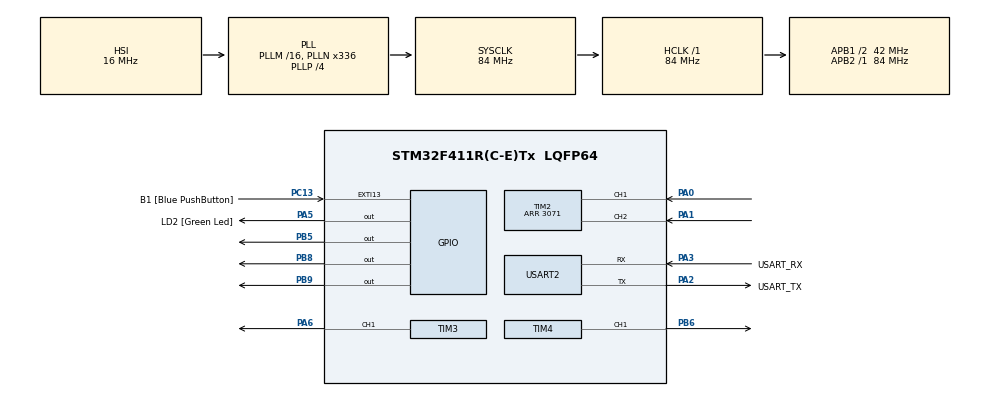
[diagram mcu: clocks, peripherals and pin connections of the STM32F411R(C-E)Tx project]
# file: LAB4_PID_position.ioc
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Mcu.Family=STM32F4
Mcu.Name=STM32F411R(C-E)Tx
Mcu.Package=LQFP64
Mcu.UserConstants=QEI_PERIOD,64512
NVIC.PriorityGroup=NVIC_PRIORITYGROUP_0
NVIC.TIM3_IRQn=true\:0\:0\:false\:false\:true\:true\:true\:true
NVIC.TIM4_IRQn=true\:0\:0\:false\:false\:true\:true\:true\:true
PA0-WKUP.Signal=S_TIM2_CH1_ETR
PA1.Signal=S_TIM2_CH2
PA13.GPIO_Label=TMS
PA13.Mode=Trace_Asynchronous_SW
PA13.Signal=SYS_JTMS-SWDIO
PA14.GPIO_Label=TCK
PA14.Mode=Trace_Asynchronous_SW
PA14.Signal=SYS_JTCK-SWCLK
PA2.GPIO_Label=USART_TX
PA2.Mode=Asynchronous
PA2.Signal=USART2_TX
PA3.GPIO_Label=USART_RX
PA3.Mode=Asynchronous
PA3.Signal=USART2_RX
PA5.GPIO_Label=LD2 [Green Led]
PA5.Signal=GPIO_Output
PA6.Signal=S_TIM3_CH1
PB3.GPIO_Label=SWO
PB3.Mode=Trace_Asynchronous_SW
PB3.Signal=SYS_JTDO-SWO
PB5.Signal=GPIO_Output
PB6.Signal=S_TIM4_CH1
PB8.Signal=GPIO_Output
PB9.Signal=GPIO_Output
PC13-ANTI_TAMP.GPIO_Label=B1 [Blue PushButton]
PC13-ANTI_TAMP.GPIO_ModeDefaultEXTI=GPIO_MODE_IT_FALLING
PC13-ANTI_TAMP.Signal=GPXTI13
PC14-OSC32_IN.Mode=LSE-External-Oscillator
PC14-OSC32_IN.Signal=RCC_OSC32_IN
PC15-OSC32_OUT.Mode=LSE-External-Oscillator
PC15-OSC32_OUT.Signal=RCC_OSC32_OUT
PH0\ -\ OSC_IN.Mode=HSE-External-Clock-Source
PH0\ -\ OSC_IN.Signal=RCC_OSC_IN
PH1\ -\ OSC_OUT.Mode=HSE-External-Clock-Source
PH1\ -\ OSC_OUT.Signal=RCC_OSC_OUT
ProjectManager.HeapSize=0x200
ProjectManager.StackSize=0x400
ProjectManager.TargetToolchain=STM32CubeIDE
RCC.48MHZClocksFreq_Value=84000000
RCC.AHBFreq_Value=84000000
RCC.APB1CLKDivider=RCC_HCLK_DIV2
RCC.APB1Freq_Value=42000000
RCC.APB1TimFreq_Value=84000000
RCC.APB2Freq_Value=84000000
RCC.APB2TimFreq_Value=84000000
RCC.CortexFreq_Value=84000000
RCC.FLatency-AdvancedSettings=FLASH_LATENCY_2
RCC.HCLKFreq_Value=84000000
RCC.HSE_VALUE=8000000
RCC.HSI_VALUE=16000000
RCC.PLLN=336
RCC.PLLP=RCC_PLLP_DIV4
RCC.SYSCLKFreq_VALUE=84000000
RCC.SYSCLKSource=RCC_SYSCLKSOURCE_PLLCLK
RCC.VCOOutputFreq_Value=336000000
SH.S_TIM2_CH1_ETR.0=TIM2_CH1,Encoder_Interface
SH.S_TIM2_CH2.0=TIM2_CH2,Encoder_Interface
SH.S_TIM3_CH1.0=TIM3_CH1,PWM Generation1 CH1
SH.S_TIM4_CH1.0=TIM4_CH1,PWM Generation1 CH1
TIM2.EncoderMode=TIM_ENCODERMODE_TI12
TIM2.Period=3071
TIM3.Channel-PWM\ Generation1\ CH1=TIM_CHANNEL_1
TIM3.Period=9999
TIM3.Prescaler=83
TIM4.Channel-PWM\ Generation1\ CH1=TIM_CHANNEL_1
TIM4.Period=9999
TIM4.Prescaler=83
USART2.VirtualMode=VM_ASYNC
VP_TIM3_VS_ClockSourceINT.Mode=Internal
board=NUCLEO-F411RE

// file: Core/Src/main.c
/* USER CODE BEGIN Header */
/**
  ******************************************************************************
  * @file           : main.c
  * @brief          : Main program body
  ******************************************************************************
  * @attention
  *
  * Copyright (c) 2023 STMicroelectronics.
  * All rights reserved.
  *
  * This software is licensed under terms that can be found in the LICENSE file
  * in the root directory of this software component.
  * If no LICENSE file comes with this software, it is provided AS-IS.
  *
  ******************************************************************************
  */
/* USER CODE END Header */
#include "main.h"

/* USER CODE BEGIN Includes */
#include "string.h"
#include "stdio.h"
// ธัชพงศ์ สังข์ถาวร 31
/* USER CODE END Includes */

TIM_HandleTypeDef htim2;
TIM_HandleTypeDef htim3;
TIM_HandleTypeDef htim4;

UART_HandleTypeDef huart2;

/* USER CODE BEGIN PV */

float e = 0;
float e_integral = 0;
uint16_t Kp = 250;
uint16_t Ki = 10;

uint32_t duty = 0;
int32_t duty_raw = 0;
uint32_t QEIReadRaw;
uint16_t setpoint = 0;
float theta;
uint16_t count;
uint8_t flag = 0;

typedef struct _QEIStructure
{
	int16_t data[2];
}QEIStructuretypedef;

QEIStructuretypedef QEIData = {0};
/* USER CODE END PV */

void SystemClock_Config(void);
static void MX_GPIO_Init(void);
static void MX_USART2_UART_Init(void);
static void MX_TIM2_Init(void);
static void MX_TIM3_Init(void);
static void MX_TIM4_Init(void);
/* USER CODE BEGIN PFP */
void PID();
/* USER CODE END PFP */

int main(void)
{

  /* MCU Configuration--------------------------------------------------------*/

  /* Reset of all peripherals, Initializes the Flash interface and the Systick. */
  HAL_Init();

  /* Configure the system clock */
  SystemClock_Config();

  /* Initialize all configured peripherals */
  MX_GPIO_Init();
  MX_USART2_UART_Init();
  MX_TIM2_Init();
  MX_TIM3_Init();
  MX_TIM4_Init();
  /* USER CODE BEGIN 2 */
  HAL_TIM_Base_Start_IT(&htim3);
  HAL_TIM_PWM_Start(&htim3, TIM_CHANNEL_1);

  HAL_TIM_Base_Start_IT(&htim4);
  HAL_TIM_PWM_Start(&htim4, TIM_CHANNEL_1);

  HAL_TIM_Encoder_Start(&htim2, TIM_CHANNEL_1|TIM_CHANNEL_2);

//  HAL_TIM_PWM_Start(&htim1, TIM_CHANNEL_1);

  /* USER CODE END 2 */

  /* Infinite loop */
  while (1)
  {

    /* USER CODE BEGIN 3 */
//	  HAL_GPIO_TogglePin(GPIOB, GPIO_PIN_5);
	  QEIReadRaw = __HAL_TIM_GET_COUNTER(&htim2);

	  QEIData.data[0] = QEIReadRaw;

	  if(QEIData.data[1] - QEIData.data[0] > 2000)
	  {
		  count++;
	  }
	  else if(QEIData.data[0] - QEIData.data[1] > 2000)
	  {
		  count--;
	  }
	  QEIData.data[1] = QEIData.data[0];

	  theta = (QEIData.data[0]/3072.0)*360.0 + count*360.0;
  }
  /* USER CODE END 3 */
}

void SystemClock_Config(void)
{
  RCC_OscInitTypeDef RCC_OscInitStruct = {0};
  RCC_ClkInitTypeDef RCC_ClkInitStruct = {0};

  /** Configure the main internal regulator output voltage
  */
  __HAL_RCC_PWR_CLK_ENABLE();
  __HAL_PWR_VOLTAGESCALING_CONFIG(PWR_REGULATOR_VOLTAGE_SCALE1);

  /** Initializes the RCC Oscillators according to the specified parameters
  * in the RCC_OscInitTypeDef structure.
  */
  RCC_OscInitStruct.OscillatorType = RCC_OSCILLATORTYPE_HSI;
  RCC_OscInitStruct.HSIState = RCC_HSI_ON;
  RCC_OscInitStruct.HSICalibrationValue = RCC_HSICALIBRATION_DEFAULT;
  RCC_OscInitStruct.PLL.PLLState = RCC_PLL_ON;
  RCC_OscInitStruct.PLL.PLLSource = RCC_PLLSOURCE_HSI;
  RCC_OscInitStruct.PLL.PLLM = 16;
  RCC_OscInitStruct.PLL.PLLN = 336;
  RCC_OscInitStruct.PLL.PLLP = RCC_PLLP_DIV4;
  RCC_OscInitStruct.PLL.PLLQ = 4;
  if (HAL_RCC_OscConfig(&RCC_OscInitStruct) != HAL_OK)
  {
    Error_Handler();
  }

  /** Initializes the CPU, AHB and APB buses clocks
  */
  RCC_ClkInitStruct.ClockType = RCC_CLOCKTYPE_HCLK|RCC_CLOCKTYPE_SYSCLK
                              |RCC_CLOCKTYPE_PCLK1|RCC_CLOCKTYPE_PCLK2;
  RCC_ClkInitStruct.SYSCLKSource = RCC_SYSCLKSOURCE_PLLCLK;
  RCC_ClkInitStruct.AHBCLKDivider = RCC_SYSCLK_DIV1;
  RCC_ClkInitStruct.APB1CLKDivider = RCC_HCLK_DIV2;
  RCC_ClkInitStruct.APB2CLKDivider = RCC_HCLK_DIV1;

  if (HAL_RCC_ClockConfig(&RCC_ClkInitStruct, FLASH_LATENCY_2) != HAL_OK)
  {
    Error_Handler();
  }
}

static void MX_TIM2_Init(void)
{

  TIM_Encoder_InitTypeDef sConfig = {0};
  TIM_MasterConfigTypeDef sMasterConfig = {0};

  htim2.Instance = TIM2;
  htim2.Init.Prescaler = 0;
  htim2.Init.CounterMode = TIM_COUNTERMODE_UP;
  htim2.Init.Period = 3071;
  htim2.Init.ClockDivision = TIM_CLOCKDIVISION_DIV1;
  htim2.Init.AutoReloadPreload = TIM_AUTORELOAD_PRELOAD_DISABLE;
  sConfig.EncoderMode = TIM_ENCODERMODE_TI12;
  sConfig.IC1Polarity = TIM_ICPOLARITY_RISING;
  sConfig.IC1Selection = TIM_ICSELECTION_DIRECTTI;
  sConfig.IC1Prescaler = TIM_ICPSC_DIV1;
  sConfig.IC1Filter = 0;
  sConfig.IC2Polarity = TIM_ICPOLARITY_RISING;
  sConfig.IC2Selection = TIM_ICSELECTION_DIRECTTI;
  sConfig.IC2Prescaler = TIM_ICPSC_DIV1;
  sConfig.IC2Filter = 0;
  if (HAL_TIM_Encoder_Init(&htim2, &sConfig) != HAL_OK)
  {
    Error_Handler();
  }
  sMasterConfig.MasterOutputTrigger = TIM_TRGO_RESET;
  sMasterConfig.MasterSlaveMode = TIM_MASTERSLAVEMODE_DISABLE;
  if (HAL_TIMEx_MasterConfigSynchronization(&htim2, &sMasterConfig) != HAL_OK)
  {
    Error_Handler();
  }

}

static void MX_TIM3_Init(void)
{

  TIM_ClockConfigTypeDef sClockSourceConfig = {0};
  TIM_MasterConfigTypeDef sMasterConfig = {0};
  TIM_OC_InitTypeDef sConfigOC = {0};

  htim3.Instance = TIM3;
  htim3.Init.Prescaler = 83;
  htim3.Init.CounterMode = TIM_COUNTERMODE_UP;
  htim3.Init.Period = 9999;
  htim3.Init.ClockDivision = TIM_CLOCKDIVISION_DIV1;
  htim3.Init.AutoReloadPreload = TIM_AUTORELOAD_PRELOAD_DISABLE;
  if (HAL_TIM_Base_Init(&htim3) != HAL_OK)
  {
    Error_Handler();
  }
  sClockSourceConfig.ClockSource = TIM_CLOCKSOURCE_INTERNAL;
  if (HAL_TIM_ConfigClockSource(&htim3, &sClockSourceConfig) != HAL_OK)
  {
    Error_Handler();
  }
  if (HAL_TIM_PWM_Init(&htim3) != HAL_OK)
  {
    Error_Handler();
  }
  sMasterConfig.MasterOutputTrigger = TIM_TRGO_RESET;
  sMasterConfig.MasterSlaveMode = TIM_MASTERSLAVEMODE_DISABLE;
  if (HAL_TIMEx_MasterConfigSynchronization(&htim3, &sMasterConfig) != HAL_OK)
  {
    Error_Handler();
  }
  sConfigOC.OCMode = TIM_OCMODE_PWM1;
  sConfigOC.Pulse = 0;
  sConfigOC.OCPolarity = TIM_OCPOLARITY_HIGH;
  sConfigOC.OCFastMode = TIM_OCFAST_DISABLE;
  if (HAL_TIM_PWM_ConfigChannel(&htim3, &sConfigOC, TIM_CHANNEL_1) != HAL_OK)
  {
    Error_Handler();
  }
  HAL_TIM_MspPostInit(&htim3);

}

static void MX_TIM4_Init(void)
{

  TIM_MasterConfigTypeDef sMasterConfig = {0};
  TIM_OC_InitTypeDef sConfigOC = {0};

  htim4.Instance = TIM4;
  htim4.Init.Prescaler = 83;
  htim4.Init.CounterMode = TIM_COUNTERMODE_UP;
  htim4.Init.Period = 9999;
  htim4.Init.ClockDivision = TIM_CLOCKDIVISION_DIV1;
  htim4.Init.AutoReloadPreload = TIM_AUTORELOAD_PRELOAD_DISABLE;
  if (HAL_TIM_PWM_Init(&htim4) != HAL_OK)
  {
    Error_Handler();
  }
  sMasterConfig.MasterOutputTrigger = TIM_TRGO_RESET;
  sMasterConfig.MasterSlaveMode = TIM_MASTERSLAVEMODE_DISABLE;
  if (HAL_TIMEx_MasterConfigSynchronization(&htim4, &sMasterConfig) != HAL_OK)
  {
    Error_Handler();
  }
  sConfigOC.OCMode = TIM_OCMODE_PWM1;
  sConfigOC.Pulse = 0;
  sConfigOC.OCPolarity = TIM_OCPOLARITY_HIGH;
  sConfigOC.OCFastMode = TIM_OCFAST_DISABLE;
  if (HAL_TIM_PWM_ConfigChannel(&htim4, &sConfigOC, TIM_CHANNEL_1) != HAL_OK)
  {
    Error_Handler();
  }
  HAL_TIM_MspPostInit(&htim4);

}

static void MX_USART2_UART_Init(void)
{

  huart2.Instance = USART2;
  huart2.Init.BaudRate = 115200;
  huart2.Init.WordLength = UART_WORDLENGTH_8B;
  huart2.Init.StopBits = UART_STOPBITS_1;
  huart2.Init.Parity = UART_PARITY_NONE;
  huart2.Init.Mode = UART_MODE_TX_RX;
  huart2.Init.HwFlowCtl = UART_HWCONTROL_NONE;
  huart2.Init.OverSampling = UART_OVERSAMPLING_16;
  if (HAL_UART_Init(&huart2) != HAL_OK)
  {
    Error_Handler();
  }

}

static void MX_GPIO_Init(void)
{
  GPIO_InitTypeDef GPIO_InitStruct = {0};

  /* GPIO Ports Clock Enable */
  __HAL_RCC_GPIOC_CLK_ENABLE();
  __HAL_RCC_GPIOH_CLK_ENABLE();
  __HAL_RCC_GPIOA_CLK_ENABLE();
  __HAL_RCC_GPIOB_CLK_ENABLE();

  /*Configure GPIO pin Output Level */
  HAL_GPIO_WritePin(LD2_GPIO_Port, LD2_Pin, GPIO_PIN_RESET);

  /*Configure GPIO pin Output Level */
  HAL_GPIO_WritePin(GPIOB, GPIO_PIN_5|GPIO_PIN_8|GPIO_PIN_9, GPIO_PIN_RESET);

  /*Configure GPIO pin : B1_Pin */
  GPIO_InitStruct.Pin = B1_Pin;
  GPIO_InitStruct.Mode = GPIO_MODE_IT_FALLING;
  GPIO_InitStruct.Pull = GPIO_NOPULL;
  HAL_GPIO_Init(B1_GPIO_Port, &GPIO_InitStruct);

  /*Configure GPIO pin : LD2_Pin */
  GPIO_InitStruct.Pin = LD2_Pin;
  GPIO_InitStruct.Mode = GPIO_MODE_OUTPUT_PP;
  GPIO_InitStruct.Pull = GPIO_NOPULL;
  GPIO_InitStruct.Speed = GPIO_SPEED_FREQ_LOW;
  HAL_GPIO_Init(LD2_GPIO_Port, &GPIO_InitStruct);

  /*Configure GPIO pins : PB5 PB8 PB9 */
  GPIO_InitStruct.Pin = GPIO_PIN_5|GPIO_PIN_8|GPIO_PIN_9;
  GPIO_InitStruct.Mode = GPIO_MODE_OUTPUT_PP;
  GPIO_InitStruct.Pull = GPIO_NOPULL;
  GPIO_InitStruct.Speed = GPIO_SPEED_FREQ_LOW;
  HAL_GPIO_Init(GPIOB, &GPIO_InitStruct);

}

/* USER CODE BEGIN 4 */
void HAL_TIM_PeriodElapsedCallback(TIM_HandleTypeDef *htim)
{
	if(htim == &htim3)
	{
		PID();

		if(e >= 0)
		{
			__HAL_TIM_SET_COMPARE(&htim3, TIM_CHANNEL_1, duty);
			__HAL_TIM_SET_COMPARE(&htim4, TIM_CHANNEL_1, 0);
		}
		else
		{
			__HAL_TIM_SET_COMPARE(&htim3, TIM_CHANNEL_1, 0);
			__HAL_TIM_SET_COMPARE(&htim4, TIM_CHANNEL_1, duty);
		}

		HAL_GPIO_TogglePin(GPIOB, GPIO_PIN_5);
	}
}

void PID()
{
	if((setpoint <= 10 && e >= -100 && e<0 && flag == 0) || (setpoint >= 35990 && e <= 100 && e>0 && flag == 0))
	{
		Kp = 50;
		Ki = 5;
		e_integral = 0;
		flag = 1;
	}

	e = setpoint - theta;

	if ( e <= 0.1 && e >= -0.1)
	{
		e_integral = 0;
		duty = 0;

		Kp = 250;
		Ki = 10;
		flag = 0;
	}
	else
	{
		if ((duty_raw >= 10000 && e >= 0) || (duty_raw <= -10000 && e < 0))
		{
			e_integral = 0;
		}
		e_integral += e*0.01;

		duty_raw = Kp*e + Ki*e_integral;

		if(duty_raw >= 0) duty = duty_raw;
		else duty = -duty_raw;

		if(duty >= 10000)
		{
			duty = 10000;
		}
	}

}

int _write(int file, char *ptr, int len)
{
	int i;

	for(i = 0; i<len; i++)
	{
		ITM_SendChar(*ptr++);
	}
	return len;
}
/* USER CODE END 4 */

void Error_Handler(void)
{
  __disable_irq();
  while (1)
  {
  }
}
